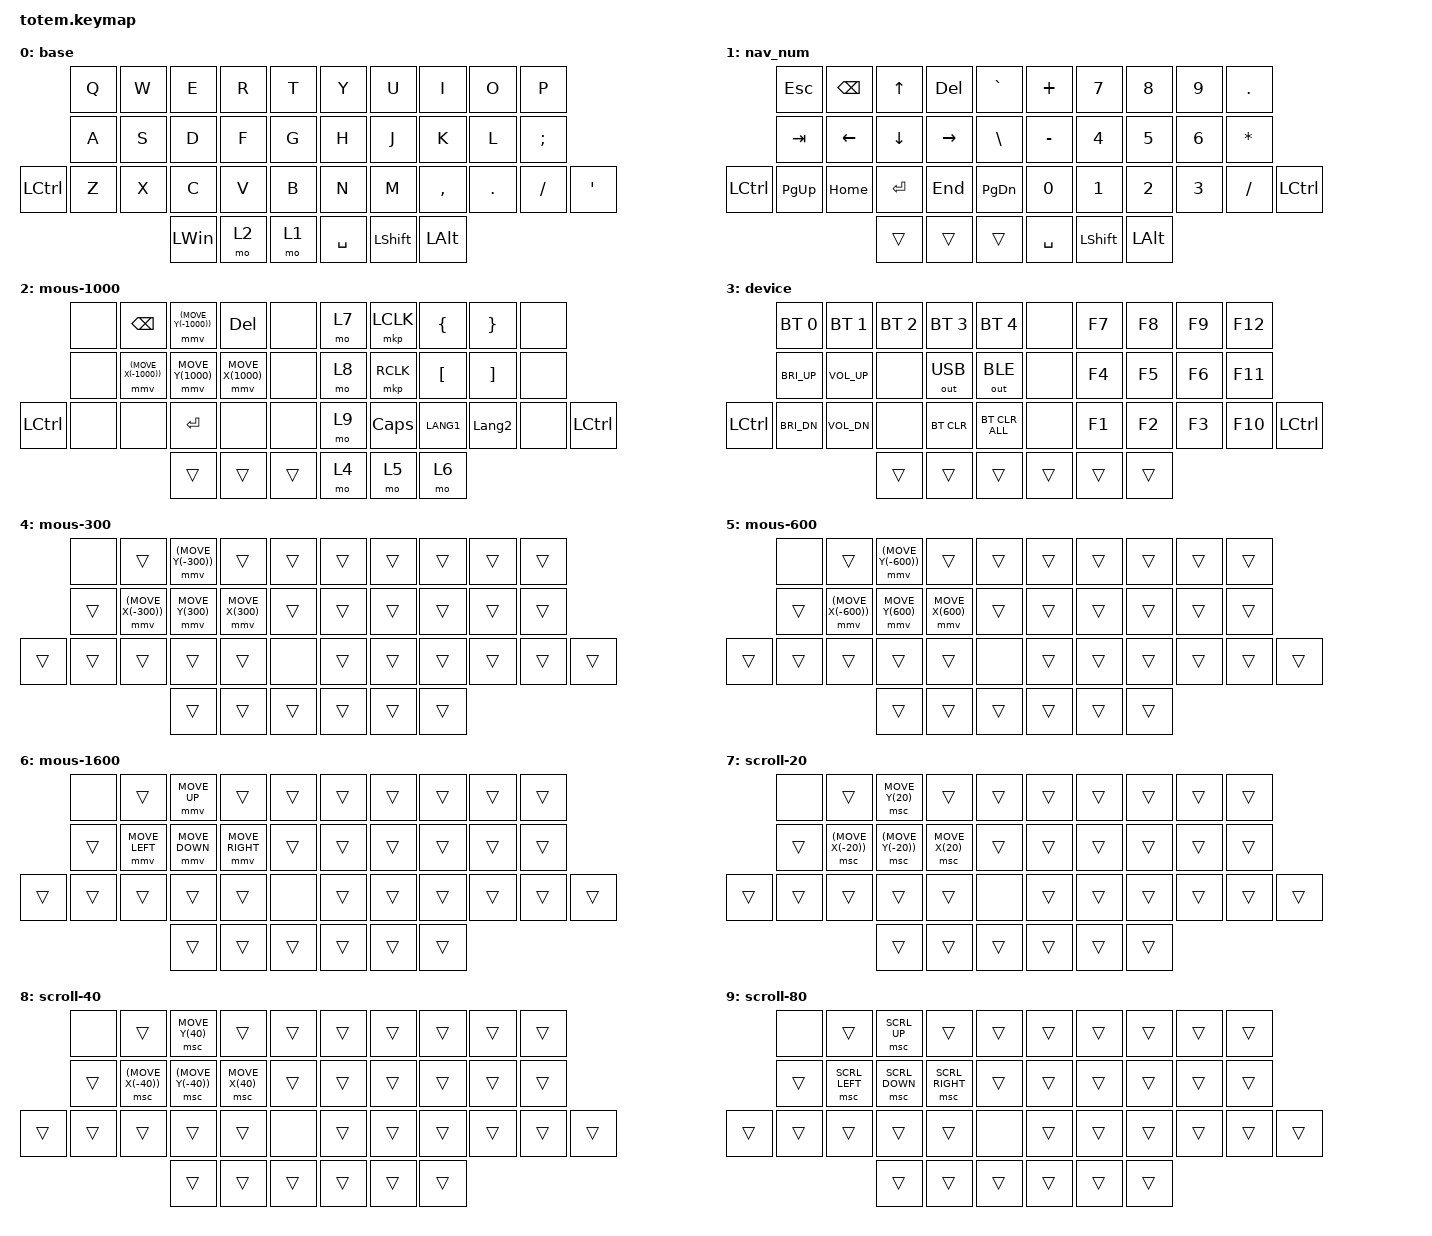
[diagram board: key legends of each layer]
//
//                                                        ▀▀▀▀▀     ▀▀▀▀▀          ▀▀█▀▀
//                                                        ▄▀▀▀▄  ▄  ▄▀▀▀▄  ▄  ▄▀▀▀▄  █  ▄▀▀▀▄
//                                                        █   █  █  █   █  █  █   █  █  █   █
//                                                         ▀▀▀   █   ▀▀▀   █   ▀▀▀   ▀   ▀▀▀
//                                                               █      ▄▄▄█▄▄▄    █   █  
//                                                               ▀      █  █  █     █▄█
//                                                             ▀▀▀▀▀    █  █  █      ▀
//                                                                      ▀  ▀  ▀
//
// ▄▄▄▄▄▄▄▄▄▄▄▄▄▄▄▄▄▄▄▄▄▄▄▄▄▄▄▄▄▄▄▄▄▄▄▄▄▄▄▄▄▄▄▄▄▄▄▄▄▄▄▄▄▄▄▄▄▄▄▄▄▄▄▄▄▄▄▄▄▄▄▄▄▄▄▄▄▄▄▄▄▄▄▄▄▄▄▄▄▄▄▄▄▄▄▄▄▄▄▄▄▄▄▄▄▄▄▄▄▄▄▄▄▄▄▄▄▄▄▄▄▄▄▄▄▄▄▄▄▄▄▄▄▄▄▄▄▄▄▄▄▄▄▄▄▄▄▄▄

#define ZMK_POINTING_DEFAULT_MOVE_VAL 1600  // default: 600
#define ZMK_POINTING_DEFAULT_SCRL_VAL 80    // default: 10

#include <behaviors.dtsi>
#include <dt-bindings/zmk/bt.h>
#include <dt-bindings/zmk/keys.h>
#include <dt-bindings/zmk/outputs.h>
#include <dt-bindings/zmk/pointing.h>

&mmv {
    time-to-max-speed-ms = <100>;
    acceleration-exponent = <1>;
};

&msc { time-to-max-speed-ms = <100>; };

/ {
    combos {
        compatible = "zmk,combos";

        equal_1 {
            bindings = <&kp EQUAL>;
            key-positions = <35 36>;
            layers = <1>;
            timeout-ms = <100>;
        };
    };

    keymap {
        compatible = "zmk,keymap";

        base {
            bindings = <
           &kp Q  &kp W  &kp E         &kp R  &kp T    &kp Y      &kp U           &kp I         &kp O    &kp P
           &kp A  &kp S  &kp D         &kp F  &kp G    &kp H      &kp J           &kp K         &kp L    &kp SEMI
&kp LCTRL  &kp Z  &kp X  &kp C         &kp V  &kp B    &kp N      &kp M           &kp COMMA     &kp DOT  &kp FSLH  &kp APOS
                         &kp LEFT_WIN  &mo 2  &mo 1    &kp SPACE  &kp LEFT_SHIFT  &kp LEFT_ALT
            >;
        };

        nav_num {
            bindings = <
                  &kp ESC      &kp BACKSPACE  &kp UP     &kp DELETE  &kp GRAVE        &kp PLUS   &kp N7          &kp N8        &kp N9  &kp PERIOD
                  &kp TAB      &kp LEFT       &kp DOWN   &kp RIGHT   &kp BACKSLASH    &kp MINUS  &kp N4          &kp N5        &kp N6  &kp ASTERISK
&kp LEFT_CONTROL  &kp PAGE_UP  &kp HOME       &kp ENTER  &kp END     &kp PAGE_DOWN    &kp N0     &kp N1          &kp N2        &kp N3  &kp SLASH     &kp LEFT_CONTROL
                                              &trans     &trans      &trans           &kp SPACE  &kp LEFT_SHIFT  &kp LEFT_ALT
            >;
        };

        mous-1000 {
            bindings = <
                  &none  &kp BACKSPACE         &mmv (MOVE_Y(-1000))  &kp DELETE         &none     &mo 7  &mkp LCLK  &kp LEFT_BRACE    &kp RIGHT_BRACE    &none
                  &none  &mmv (MOVE_X(-1000))  &mmv MOVE_Y(1000)     &mmv MOVE_X(1000)  &none     &mo 8  &mkp RCLK  &kp LEFT_BRACKET  &kp RIGHT_BRACKET  &none
&kp LEFT_CONTROL  &none  &none                 &kp ENTER             &none              &none     &mo 9  &kp CAPS   &kp LANG1         &kp LANGUAGE_2     &none  &kp LEFT_CONTROL
                                               &trans                &trans             &trans    &mo 4  &mo 5      &mo 6
            >;
        };

        device {
            bindings = <
           &bt BT_SEL 0  &bt BT_SEL 1  &bt BT_SEL 2  &bt BT_SEL 3  &bt BT_SEL 4      &none   &kp F7  &kp F8  &kp F9  &kp F12
           &kp C_BRI_UP  &kp C_VOL_UP  &none         &out OUT_USB  &out OUT_BLE      &none   &kp F4  &kp F5  &kp F6  &kp F11
&kp LCTRL  &kp C_BRI_DN  &kp C_VOL_DN  &none         &bt BT_CLR    &bt BT_CLR_ALL    &none   &kp F1  &kp F2  &kp F3  &kp F10  &kp LEFT_CONTROL
                                       &trans        &trans        &trans            &trans  &trans  &trans
            >;
        };

        mous-300 {
            bindings = <
        &none   &trans               &mmv (MOVE_Y(-300))  &trans            &trans    &trans  &trans  &trans  &trans  &trans
        &trans  &mmv (MOVE_X(-300))  &mmv MOVE_Y(300)     &mmv MOVE_X(300)  &trans    &trans  &trans  &trans  &trans  &trans
&trans  &trans  &trans               &trans               &trans            &none     &trans  &trans  &trans  &trans  &trans  &trans
                                     &trans               &trans            &trans    &trans  &trans  &trans
            >;
        };

        mous-600 {
            bindings = <
        &none   &trans               &mmv (MOVE_Y(-600))  &trans            &trans    &trans  &trans  &trans  &trans  &trans
        &trans  &mmv (MOVE_X(-600))  &mmv MOVE_Y(600)     &mmv MOVE_X(600)  &trans    &trans  &trans  &trans  &trans  &trans
&trans  &trans  &trans               &trans               &trans            &none     &trans  &trans  &trans  &trans  &trans  &trans
                                     &trans               &trans            &trans    &trans  &trans  &trans
            >;
        };

        mous-1600 {
            bindings = <
        &none   &trans          &mmv MOVE_UP    &trans           &trans    &trans  &trans  &trans  &trans  &trans
        &trans  &mmv MOVE_LEFT  &mmv MOVE_DOWN  &mmv MOVE_RIGHT  &trans    &trans  &trans  &trans  &trans  &trans
&trans  &trans  &trans          &trans          &trans           &none     &trans  &trans  &trans  &trans  &trans  &trans
                                &trans          &trans           &trans    &trans  &trans  &trans
            >;
        };

        scroll-20 {
            bindings = <
        &none   &trans              &msc MOVE_Y(20)     &trans           &trans    &trans  &trans  &trans  &trans  &trans
        &trans  &msc (MOVE_X(-20))  &msc (MOVE_Y(-20))  &msc MOVE_X(20)  &trans    &trans  &trans  &trans  &trans  &trans
&trans  &trans  &trans              &trans              &trans           &none     &trans  &trans  &trans  &trans  &trans  &trans
                                    &trans              &trans           &trans    &trans  &trans  &trans
            >;
        };

        scroll-40 {
            bindings = <
        &none   &trans              &msc MOVE_Y(40)     &trans           &trans    &trans  &trans  &trans  &trans  &trans
        &trans  &msc (MOVE_X(-40))  &msc (MOVE_Y(-40))  &msc MOVE_X(40)  &trans    &trans  &trans  &trans  &trans  &trans
&trans  &trans  &trans              &trans              &trans           &none     &trans  &trans  &trans  &trans  &trans  &trans
                                    &trans              &trans           &trans    &trans  &trans  &trans
            >;
        };

        scroll-80 {
            bindings = <
        &none   &trans          &msc SCRL_UP    &trans           &trans    &trans  &trans  &trans  &trans  &trans
        &trans  &msc SCRL_LEFT  &msc SCRL_DOWN  &msc SCRL_RIGHT  &trans    &trans  &trans  &trans  &trans  &trans
&trans  &trans  &trans          &trans          &trans           &none     &trans  &trans  &trans  &trans  &trans  &trans
                                &trans          &trans           &trans    &trans  &trans  &trans
            >;
        };
    };

    conditional_layers {
        compatible = "zmk,conditional-layers";

        device {
            if-layers = <1 2>;
            then-layer = <3>;
        };
    };
};
